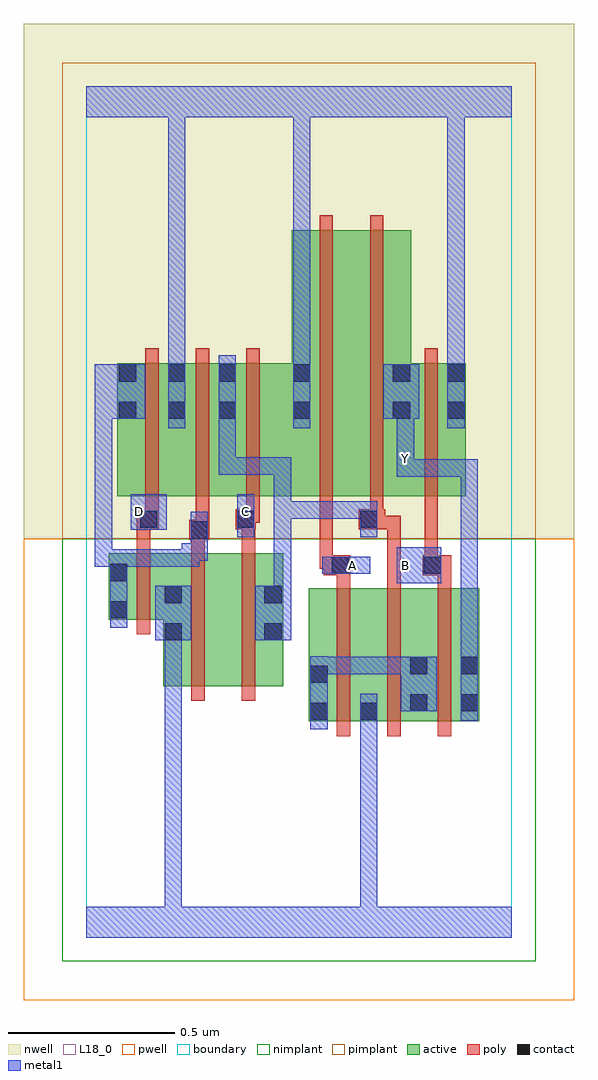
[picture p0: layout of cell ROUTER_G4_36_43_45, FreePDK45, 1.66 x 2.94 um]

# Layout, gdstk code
import gdstk
lib = gdstk.Library(unit=1e-6, precision=1e-09)
def R(c, l, rs):  # rectangles x0, y0, x1, y1
    for r in rs: c.add(gdstk.rectangle(r[:2], r[2:], *l))
def A(c, l, x, y, w, h, nx, ny, dx, dy):  # array of equal rectangles
    R(c, l, [(x+i*dx, y+j*dy, x+i*dx+w, y+j*dy+h) for i in range(nx) for j in range(ny)])
active = (1, 0)
pwell = (2, 0)
nwell = (3, 0)
nimplant = (4, 0)
pimplant = (5, 0)
poly = (9, 0)
contact = (10, 0)
metal1 = (11, 0)
L18_0 = (18, 0)
boundary = (235, 0)

router_g4_36_43_45 = lib.new_cell('ROUTER_G4_36_43_45')
R(router_g4_36_43_45, active, [(0.67,0.65,0.73,1.05), (0.67,0.65,0.88,1.05), (0.82,0.65,1.03,1.05), (0.82,0.65,0.88,0.71), (0.97,0.65,1.03,1.05), (0.97,0.65,1.182,1.05), (1.122,0.65,1.182,1.05), (0.232,0.756,0.412,1.156), (0.412,0.756,0.592,1.156), (0.532,0.756,0.592,1.156), (0.232,0.89,0.292,1.062), (0.068,0.956,0.292,1.156), (0.068,0.956,0.128,1.156), (0.094,1.328,0.154,1.728), (0.094,1.328,0.302,1.728), (0.242,1.328,0.454,1.728), (0.394,1.328,0.454,1.728), (0.394,1.328,0.678,1.728), (0.618,1.328,0.678,1.728), (0.618,1.328,0.798,2.128), (0.798,1.328,0.978,2.128), (0.918,1.328,0.978,1.728), (0.918,1.328,1.142,1.728), (1.082,1.328,1.142,1.728), (0.242,1.556,0.302,1.728)])
R(router_g4_36_43_45, pwell, [(-0.188,-0.188,1.468,1.2)])
R(router_g4_36_43_45, nwell, [(-0.188,1.2,1.468,2.748)])
R(router_g4_36_43_45, nimplant, [(-0.072,-0.072,1.352,1.2)])
R(router_g4_36_43_45, pimplant, [(-0.072,1.2,1.352,2.632)])
A(router_g4_36_43_45, poly, 0.754, 0.606, 0.04, 0.488, 3, 1, 0.152, 0)
A(router_g4_36_43_45, poly, 0.178, 1.284, 0.04, 0.488, 3, 1, 0.152, 0)
R(router_g4_36_43_45, poly, [(0.316,0.712,0.356,1.2), (0.468,0.712,0.508,1.2), (0.152,0.912,0.192,1.2), (0.754,1.054,0.794,1.13), (0.906,1.054,0.946,1.268), (1.058,1.054,1.098,1.13), (0.714,1.09,0.794,1.15), (1.012,1.09,1.098,1.15), (0.702,1.11,0.742,1.324), (0.702,1.11,0.754,1.15), (0.714,1.11,0.754,1.15), (1.018,1.11,1.058,1.324), (1.018,1.11,1.058,1.15), (1.018,1.11,1.058,1.15), (0.152,1.16,0.192,1.268), (0.316,1.16,0.356,1.236), (0.468,1.16,0.508,1.268), (0.31,1.196,0.37,1.256), (0.33,1.216,0.37,1.256), (0.33,1.216,0.37,1.256), (0.33,1.216,0.37,1.324), (0.152,1.228,0.198,1.268), (0.158,1.228,0.198,1.268), (0.158,1.228,0.218,1.288), (0.45,1.228,0.51,1.288), (0.82,1.228,0.9,1.288), (0.86,1.228,0.9,1.268), (0.86,1.228,0.946,1.268), (0.178,1.248,0.218,1.324), (0.47,1.248,0.51,1.288), (0.47,1.248,0.522,1.288), (0.482,1.248,0.522,1.324), (0.854,1.248,0.894,1.324), (0.702,1.284,0.742,2.172), (0.854,1.284,0.894,2.172), (1.018,1.284,1.058,1.772)])
R(router_g4_36_43_45, contact, [(0.674,0.654,0.726,0.706), (0.824,0.654,0.876,0.706), (0.974,0.68,1.026,0.732), (1.126,0.68,1.178,0.732), (0.674,0.766,0.726,0.818), (0.974,0.792,1.026,0.844), (1.126,0.792,1.178,0.844), (0.236,0.894,0.288,0.946), (0.536,0.894,0.588,0.946), (0.072,0.96,0.124,1.012), (0.236,1.006,0.288,1.058), (0.536,1.006,0.588,1.058), (0.072,1.072,0.124,1.124), (0.738,1.094,0.79,1.146), (1.016,1.094,1.068,1.146), (0.314,1.2,0.366,1.252), (0.162,1.232,0.214,1.284), (0.454,1.232,0.506,1.284), (0.824,1.232,0.876,1.284), (0.098,1.56,0.15,1.612), (0.246,1.56,0.298,1.612), (0.398,1.56,0.45,1.612), (0.622,1.56,0.674,1.612), (0.922,1.56,0.974,1.612), (1.086,1.56,1.138,1.612), (0.098,1.672,0.15,1.724), (0.246,1.672,0.298,1.724), (0.398,1.672,0.45,1.724), (0.622,1.672,0.674,1.724), (0.922,1.672,0.974,1.724), (1.086,1.672,1.138,1.724)])
A(router_g4_36_43_45, metal1, 0.564, 1.26, 0.052, 0.052, 3, 1, 0.11, 0)
R(router_g4_36_43_45, metal1, [(0,0,1.28,0.092), (0.236,0.04,0.288,0.092), (0.236,0.04,0.288,0.092), (0.236,0.04,0.288,0.092), (0.236,0.04,0.288,0.092), (0.236,0.04,0.288,0.092), (0.236,0.04,0.288,0.092), (0.236,0.04,0.288,0.092), (0.236,0.04,0.288,0.092), (0.236,0.04,0.288,0.092), (0.236,0.04,0.288,0.092), (0.236,0.04,0.288,0.092), (0.236,0.04,0.288,0.092), (0.236,0.04,0.288,0.946), (0.824,0.04,0.876,0.092), (0.824,0.04,0.876,0.092), (0.824,0.04,0.876,0.092), (0.824,0.04,0.876,0.092), (0.824,0.04,0.876,0.092), (0.824,0.04,0.876,0.092), (0.824,0.04,0.876,0.092), (0.824,0.04,0.876,0.092), (0.824,0.04,0.876,0.092), (0.824,0.04,0.876,0.092), (0.824,0.04,0.876,0.092), (0.824,0.04,0.876,0.092), (0.824,0.04,0.876,0.678), (0.674,0.626,0.726,0.846), (0.824,0.626,0.876,0.734), (1.126,0.652,1.178,0.872), (0.946,0.68,1.054,0.844), (0.674,0.792,0.726,0.844), (0.674,0.792,0.726,0.844), (0.674,0.792,0.836,0.844), (0.784,0.792,0.836,0.844), (0.784,0.792,0.836,0.844), (0.784,0.792,0.836,0.844), (0.784,0.792,0.998,0.844), (1.126,0.82,1.178,0.872), (1.126,0.82,1.178,0.872), (1.126,0.82,1.178,1.438), (0.208,0.894,0.316,1.058), (0.508,0.894,0.616,1.058), (0.072,0.932,0.124,1.152), (0.564,1.006,0.616,1.058), (0.564,1.006,0.616,1.058), (0.564,1.006,0.616,1.312), (0.934,1.066,1.068,1.174), (0.71,1.094,0.854,1.146), (0.072,1.1,0.124,1.168), (0.026,1.116,0.078,1.168), (0.026,1.116,0.078,1.168), (0.026,1.116,0.078,1.612), (0.026,1.116,0.124,1.168), (0.072,1.116,0.124,1.168), (0.072,1.116,0.124,1.168), (0.072,1.116,0.34,1.168), (0.288,1.116,0.34,1.186), (0.288,1.134,0.366,1.186), (0.314,1.134,0.366,1.28), (0.454,1.204,0.506,1.334), (0.824,1.204,0.876,1.312), (0.134,1.226,0.242,1.334), (0.564,1.26,0.616,1.312), (0.564,1.26,0.726,1.312), (0.564,1.26,0.616,1.444), (0.674,1.26,0.836,1.312), (0.784,1.26,0.876,1.312), (0.934,1.386,1.178,1.438), (0.934,1.386,0.986,1.494), (1.126,1.386,1.178,1.438), (1.126,1.386,1.178,1.438), (1.126,1.386,1.178,1.438), (0.398,1.392,0.45,1.444), (0.398,1.392,0.45,1.444), (0.398,1.392,0.45,1.444), (0.398,1.392,0.616,1.444), (0.398,1.392,0.45,1.584), (0.934,1.442,0.986,1.612), (0.246,1.532,0.298,1.752), (0.398,1.532,0.45,1.752), (0.622,1.532,0.674,1.752), (1.086,1.532,1.138,1.752), (0.026,1.56,0.178,1.724), (0.894,1.56,1.002,1.724), (0.246,1.7,0.298,1.752), (0.246,1.7,0.298,1.752), (0.246,1.7,0.298,2.52), (0.622,1.7,0.674,1.752), (0.622,1.7,0.674,1.752), (0.622,1.7,0.674,1.752), (0.622,1.7,0.674,1.752), (0.622,1.7,0.674,2.52), (1.086,1.7,1.138,2.52), (0,2.468,1.28,2.56), (0.246,2.468,0.298,2.52), (0.246,2.468,0.298,2.52), (0.246,2.468,0.298,2.52), (0.246,2.468,0.298,2.52), (0.246,2.468,0.298,2.52), (0.246,2.468,0.298,2.52), (0.246,2.468,0.298,2.52), (0.246,2.468,0.298,2.52), (0.246,2.468,0.298,2.52), (0.246,2.468,0.298,2.52), (0.246,2.468,0.298,2.52), (0.246,2.468,0.298,2.52), (0.246,2.468,0.298,2.52), (0.246,2.468,0.298,2.52), (0.622,2.468,0.674,2.52), (0.622,2.468,0.674,2.52), (0.622,2.468,0.674,2.52), (0.622,2.468,0.674,2.52), (1.086,2.468,1.138,2.52), (1.086,2.468,1.138,2.52), (1.086,2.468,1.138,2.52), (1.086,2.468,1.138,2.52), (1.086,2.468,1.138,2.52), (1.086,2.468,1.138,2.52), (1.086,2.468,1.138,2.52), (1.086,2.468,1.138,2.52), (1.086,2.468,1.138,2.52), (1.086,2.468,1.138,2.52), (1.086,2.468,1.138,2.52), (1.086,2.468,1.138,2.52), (1.086,2.468,1.138,2.52), (1.086,2.468,1.138,2.52), (1.086,2.468,1.138,2.52), (1.086,2.468,1.138,2.52)])
R(router_g4_36_43_45, L18_0, [(0,0,1.28,0.092), (0.236,0.04,0.288,0.092), (0.236,0.04,0.288,0.092), (0.236,0.04,0.288,0.092), (0.236,0.04,0.288,0.092), (0.236,0.04,0.288,0.092), (0.236,0.04,0.288,0.092), (0.236,0.04,0.288,0.092), (0.236,0.04,0.288,0.092), (0.236,0.04,0.288,0.092), (0.236,0.04,0.288,0.092), (0.236,0.04,0.288,0.092), (0.236,0.04,0.288,0.092), (0.236,0.04,0.288,0.946), (0.824,0.04,0.876,0.092), (0.824,0.04,0.876,0.092), (0.824,0.04,0.876,0.092), (0.824,0.04,0.876,0.092), (0.824,0.04,0.876,0.092), (0.824,0.04,0.876,0.092), (0.824,0.04,0.876,0.092), (0.824,0.04,0.876,0.092), (0.824,0.04,0.876,0.092), (0.824,0.04,0.876,0.092), (0.824,0.04,0.876,0.092), (0.824,0.04,0.876,0.092), (0.824,0.04,0.876,0.678), (0.824,0.626,0.876,0.734), (1.126,0.652,1.178,0.872), (1.126,0.82,1.178,0.872), (1.126,0.82,1.178,0.872), (1.126,0.82,1.178,1.438), (0.208,0.894,0.316,1.058), (0.934,1.066,1.068,1.174), (0.71,1.094,0.854,1.146), (0.774,1.094,0.826,1.146), (0.934,1.094,0.986,1.146), (0.454,1.204,0.506,1.334), (0.134,1.226,0.242,1.334), (0.134,1.254,0.186,1.306), (0.454,1.254,0.506,1.306), (0.934,1.386,0.986,1.494), (0.934,1.386,1.178,1.438), (1.126,1.386,1.178,1.438), (1.126,1.386,1.178,1.438), (1.126,1.386,1.178,1.438), (0.934,1.414,0.986,1.466), (0.934,1.442,0.986,1.612), (0.246,1.532,0.298,1.752), (0.622,1.532,0.674,1.752), (1.086,1.532,1.138,1.752), (0.894,1.56,1.002,1.724), (0.246,1.7,0.298,1.752), (0.246,1.7,0.298,1.752), (0.246,1.7,0.298,2.52), (0.622,1.7,0.674,1.752), (0.622,1.7,0.674,1.752), (0.622,1.7,0.674,1.752), (0.622,1.7,0.674,1.752), (0.622,1.7,0.674,2.52), (1.086,1.7,1.138,2.52), (0,2.468,1.28,2.56), (0.246,2.468,0.298,2.52), (0.246,2.468,0.298,2.52), (0.246,2.468,0.298,2.52), (0.246,2.468,0.298,2.52), (0.246,2.468,0.298,2.52), (0.246,2.468,0.298,2.52), (0.246,2.468,0.298,2.52), (0.246,2.468,0.298,2.52), (0.246,2.468,0.298,2.52), (0.246,2.468,0.298,2.52), (0.246,2.468,0.298,2.52), (0.246,2.468,0.298,2.52), (0.246,2.468,0.298,2.52), (0.246,2.468,0.298,2.52), (0.622,2.468,0.674,2.52), (0.622,2.468,0.674,2.52), (0.622,2.468,0.674,2.52), (0.622,2.468,0.674,2.52), (1.086,2.468,1.138,2.52), (1.086,2.468,1.138,2.52), (1.086,2.468,1.138,2.52), (1.086,2.468,1.138,2.52), (1.086,2.468,1.138,2.52), (1.086,2.468,1.138,2.52), (1.086,2.468,1.138,2.52), (1.086,2.468,1.138,2.52), (1.086,2.468,1.138,2.52), (1.086,2.468,1.138,2.52), (1.086,2.468,1.138,2.52), (1.086,2.468,1.138,2.52), (1.086,2.468,1.138,2.52), (1.086,2.468,1.138,2.52), (1.086,2.468,1.138,2.52), (1.086,2.468,1.138,2.52)])
R(router_g4_36_43_45, boundary, [(0,0,1.28,2.56)])
router_g4_36_43_45.add(gdstk.Label('A', (0.8,1.12), layer=11, texttype=0))
router_g4_36_43_45.add(gdstk.Label('B', (0.96,1.12), layer=11, texttype=0))
router_g4_36_43_45.add(gdstk.Label('C', (0.48,1.28), layer=11, texttype=0))
router_g4_36_43_45.add(gdstk.Label('D', (0.16,1.28), layer=11, texttype=0))
router_g4_36_43_45.add(gdstk.Label('Y', (0.96,1.44), layer=11, texttype=0))

lib.write_gds('ROUTER_G4_36_43_45.gds')
